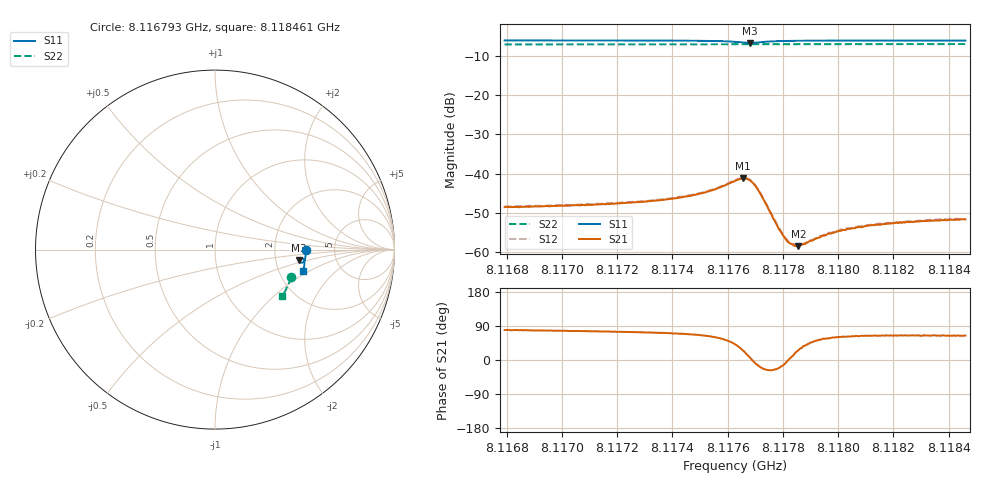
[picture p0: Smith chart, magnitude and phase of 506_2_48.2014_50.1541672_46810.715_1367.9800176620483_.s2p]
#  HZ  S  RI  R  50.00
! Rohde & Schwarz Vector Network Analyzer
! Rohde-Schwarz,ZNB20-2Port,1311601062101988,3.16
! Created: UTC 3/20/2024, 11:58:46 AM
! freq[Hz]  re:S11  im:S11  re:S21  im:S21  re:S12  im:S12  re:S22  im:S22
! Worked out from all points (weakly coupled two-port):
!   401 points, 8.116793 GHz to 8.118461 GHz, reference 50 ohm
!   highest |S21| = -41.28 dB at 8.117656 GHz (marker M1); lowest = -58.6 dB at 8.117856 GHz (marker M2)
!   lowest |S11| = -6.5 dB at 8.117681 GHz (marker M3), VSWR 2.78, Z = 136 - j20.3 ohm
!   |S11| at or under -10 dB: nowhere
!   |S22| runs from -6.9 to -6.8 dB; largest |S21 - S12| = 0.00023
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8.1167925e9  0.5067 9.08e-06  0.00071 0.00364  0.000759 0.00369  0.4235 -0.1547
8.117072e9  0.5058 -0.022  0.000923 0.00383  0.00101 0.0039  0.4172 -0.1731
8.1173514e9  0.5031 -0.0451  0.00143 0.0043  0.0015 0.00438  0.4098 -0.1914
8.1175057e9  0.4984 -0.0606  0.00233 0.00506  0.00238 0.00515  0.4055 -0.2012
8.117564e9  0.4937 -0.0677  0.00336 0.00553  0.00346 0.00559  0.4035 -0.2053
8.1176266e9  0.481 -0.0734  0.00603 0.00533  0.00617 0.00541  0.4011 -0.2088
8.1176558e9  0.4714 -0.0691  0.00783 0.00364  0.00802 0.00368  0.3999 -0.2104
8.1176808e9  0.4679 -0.0582  0.00811 0.000863  0.0083 0.00082  0.3991 -0.2113
8.1176975e9  0.4712 -0.0511  0.00709 -0.00079  0.00726 -0.000897  0.3989 -0.2121
8.1177142e9  0.4772 -0.0473  0.00561 -0.00167  0.0057 -0.00181  0.3987 -0.2131
8.1177809e9  0.494 -0.0536  0.00194 -0.000806  0.00197 -0.00084  0.3975 -0.2175
8.1178059e9  0.4964 -0.0576  0.00148 -0.000294  0.00155 -0.000301  0.3969 -0.2193
8.1178268e9  0.4975 -0.0606  0.00126 0.000107  0.00131 8.66e-05  0.3961 -0.2205
8.1178393e9  0.4979 -0.0624  0.00116 0.000288  0.00123 0.000298  0.3958 -0.2214
8.117856e9  0.4984 -0.0646  0.00105 0.000512  0.00112 0.000507  0.3953 -0.2224
8.1178726e9  0.4985 -0.0665  0.000994 0.000725  0.00105 0.000697  0.3948 -0.2235
8.117906e9  0.4987 -0.0704  0.000944 0.00101  0.000945 0.00104  0.3937 -0.2257
8.1179644e9  0.4986 -0.0765  0.000918 0.00143  0.000904 0.00145  0.3917 -0.2293
8.1180228e9  0.4981 -0.0819  0.000915 0.00166  0.000975 0.00171  0.3897 -0.2331
8.1181187e9  0.4969 -0.0902  0.00095 0.00197  0.000972 0.00199  0.3865 -0.239
8.1181854e9  0.4961 -0.0956  0.000998 0.00206  0.00102 0.0021  0.3844 -0.243
8.1184607e9  0.4914 -0.1167  0.00111 0.00233  0.00113 0.00238  0.3743 -0.2596
